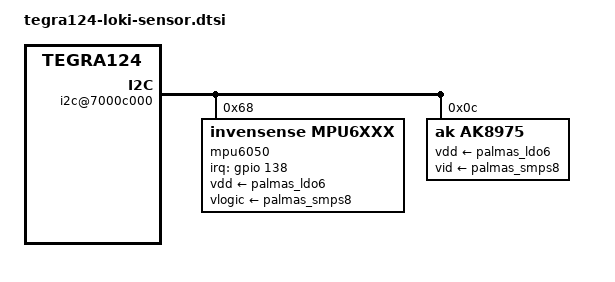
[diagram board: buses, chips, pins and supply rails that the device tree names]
#include "tegra124-loki-pmic-e2545-0000-common.dtsi"

/ {
	i2c@7000c000 {
		mpu6050@68 {
			compatible = "invensense,mpu6xxx";
			reg = <0x68>;
			interrupt-parent = <&gpio>;
			interrupts = <138 0x01>;
			invensense,orientation = [ff 00 00 00 01 00 00 00 ff];
			vdd-supply = <&palmas_ldo6>;
			vlogic-supply = <&palmas_smps8>;
		};

		ak8975@0c {
			compatible = "ak,ak8975";
			reg = <0x0c>;
			orientation = [01 00 00 00 ff 00 00 00 ff];
			vdd-supply = <&palmas_ldo6>;
			vid-supply = <&palmas_smps8>;
		};
	};
};
